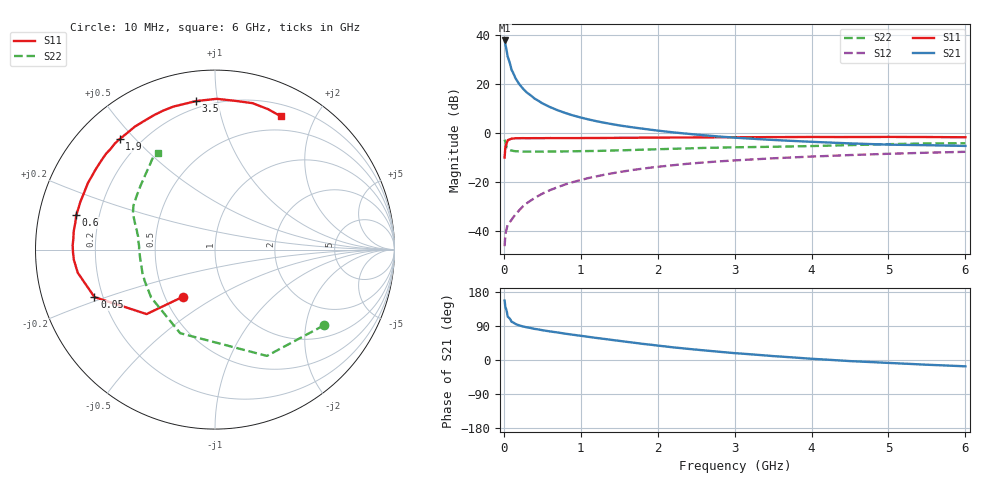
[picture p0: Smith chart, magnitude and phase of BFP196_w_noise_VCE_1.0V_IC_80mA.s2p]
! Infineon Technologies  Discrete & RF Semiconductors
! BFP196
! VCE =  1.0 V,  IC =  80 mA
! Common Emitter S-Parameters:  Jan 2017
# GHz  S  MA  R  50
!  f  S11  S21  S12  S22
! GHz  MAG  ANG  MAG  ANG  MAG  ANG  MAG  ANG
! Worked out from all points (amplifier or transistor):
!   77 points, 10 MHz to 6 GHz, reference 50 ohm
!   highest |S21| = 37.9 dB at 10 MHz (marker M1)
!   |S21| within 3 dB of that: start of sweep to 29.34 MHz
!   unconditionally stable (mu >= 1): 280.1 MHz to 3.917 GHz; 4.061 GHz to end of sweep
!   at 130 MHz: K = 0.82, MSG = 29.1 dB, |S12| = -34.1 dB
!   at 2.2 GHz: K = 1.03, MAG = 5.7 dB, |S12| = -13.1 dB
!   at 6 GHz: K = 1.01, MAG = 0.5 dB, |S12| = -7.6 dB
!   lowest NFmin = 1.78 dB at 450 MHz
!   S11 on the Smith chart (normalised r, x): 10 MHz: 0.61, -0.36; 50 MHz: 0.17, -0.18; 600 MHz: 0.12, +0.12; 1.9 GHz: 0.12, +0.45; 3.5 GHz: 0.16, +0.87; 6 GHz: 0.33, +1.56
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0.01  0.3195 -124.4  78.95 156.9  0.0049 68.4  0.7392 -34.8
0.02  0.5239 -136.7  65.87 139.7  0.0086 57.4  0.6589 -64.0
0.05  0.7218 -158.5  36.77 114.4  0.0133 48.6  0.5046 -112.6
0.1  0.7754 -170.4  19.85 100.9  0.0169 54.2  0.4448 -143.1
0.15  0.7885 -175.9  13.45 95.2  0.0217 58.6  0.4293 -155.4
0.2  0.7915 -179.1  10.14 91.3  0.0266 62.2  0.4247 -162.3
0.25  0.7934 178.2  8.119 88.4  0.0321 65.2  0.4207 -166.6
0.3  0.7917 176.1  6.779 86.2  0.0371 66.3  0.4202 -169.9
0.4  0.7936 172.5  5.112 82.1  0.0471 68.0  0.4199 -174.1
0.5  0.7926 169.0  4.094 78.7  0.058 68.6  0.4204 -177.2
0.6  0.7964 166.0  3.431 75.4  0.0686 68.1  0.4233 -179.7
0.7  0.7949 163.3  2.949 72.6  0.079 68.3  0.4227 178.2
0.8  0.7961 160.4  2.591 69.4  0.09 67.7  0.4247 176.4
1.1  0.7994 152.1  1.917 61.1  0.1212 63.7  0.4323 171.9
1.5  0.8051 141.4  1.446 50.5  0.1604 57.8  0.4467 166.7
1.9  0.8134 130.8  1.184 40.6  0.1971 51.7  0.4656 162.5
2.1  0.8145 125.6  1.086 35.8  0.2136 48.4  0.4755 160.5
3.1  0.8291 104.4  0.794 16.7  0.2838 33.5  0.5184 150.5
3.5  0.8343 97.2  0.729 10.3  0.3071 28.4  0.5289 145.7
4.1  0.8383 87.8  0.658 2.1  0.338 20.7  0.5514 137.8
5.1  0.8402 74.3  0.581 -8.6  0.3837 8.9  0.6014 126.6
6  0.8282 63.6  0.55 -16.7  0.4171 -1.0  0.6239 120.4
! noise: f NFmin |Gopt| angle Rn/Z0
0.45  1.78  0.5  -170  0.06
0.9  1.95  0.53  -157  0.1
1.9  2.8  0.7  -130  0.4
2.4  3.2  0.7  -116  0.87
